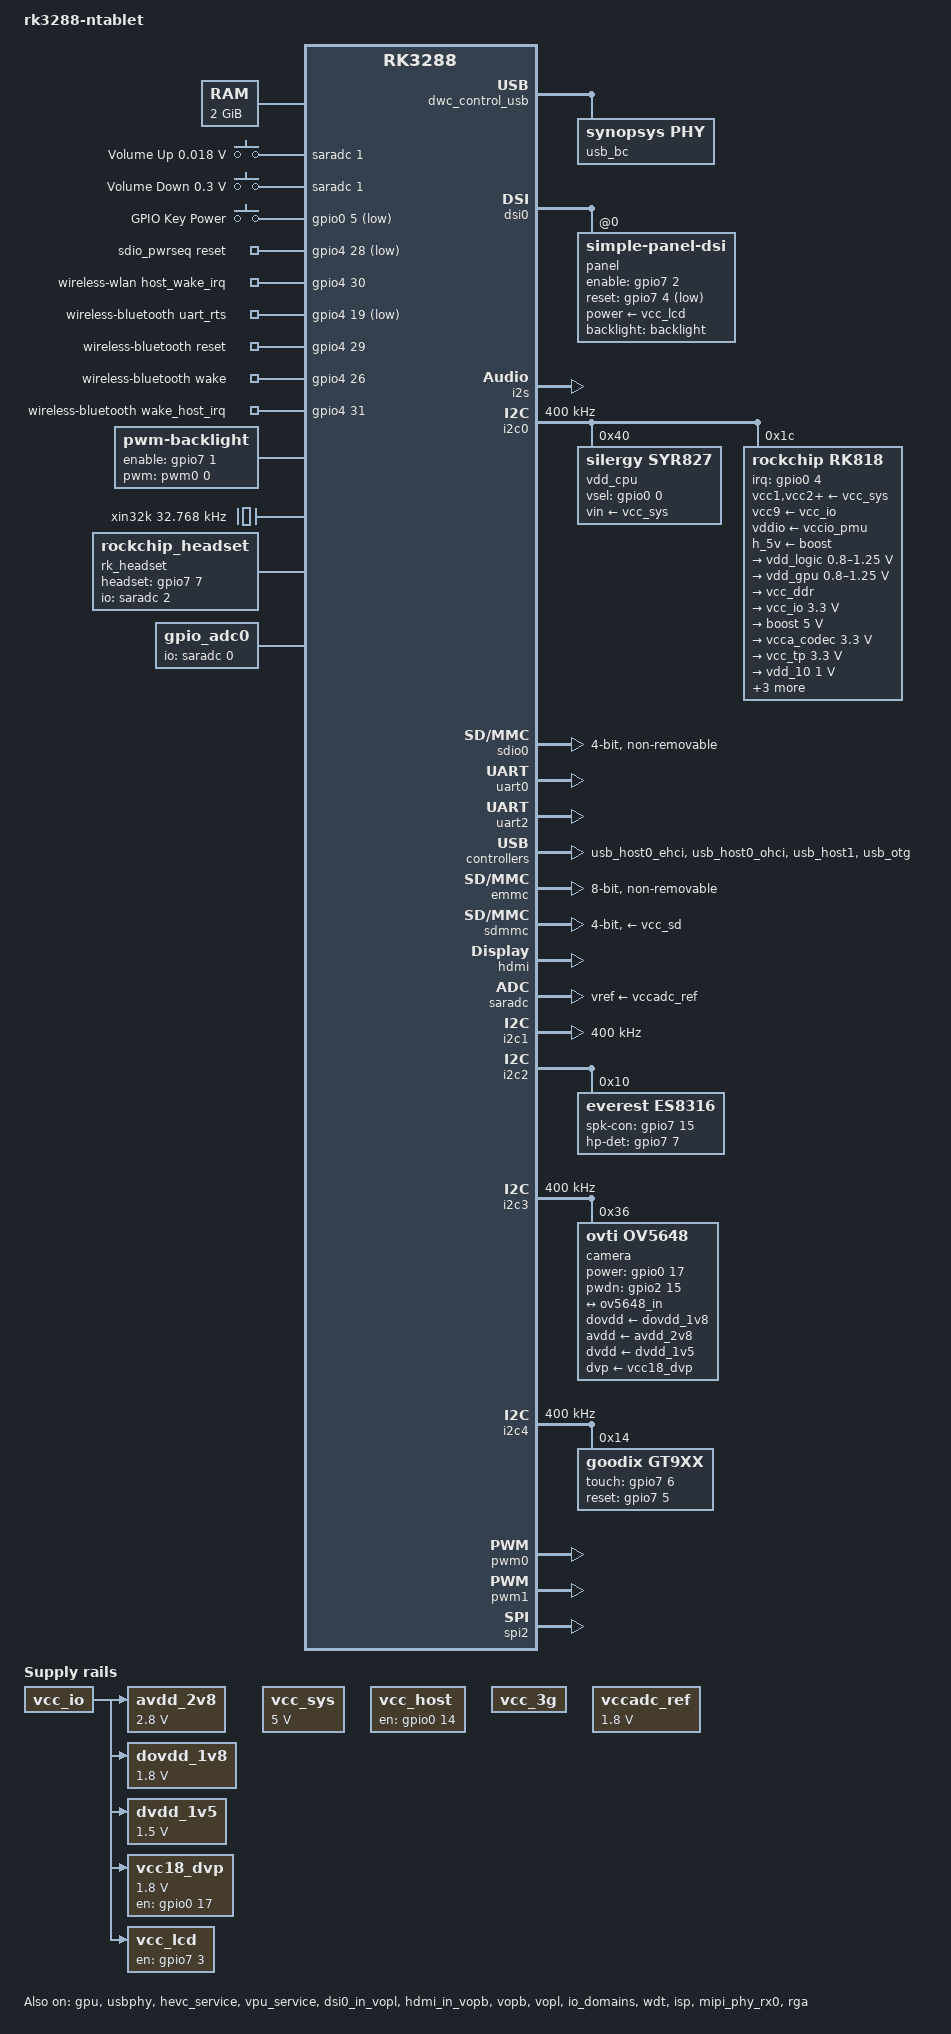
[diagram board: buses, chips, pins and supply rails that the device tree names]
/*
 * Copyright (c) 2018 Yea create <simon@yeacreate.com>
 *
 * This file is dual-licensed: you can use it either under the terms
 * of the GPL or the X11 license, at your option. Note that this dual
 * licensing only applies to this file, and not this project as a
 * whole.
 *
 *  a) This file is free software; you can redistribute it and/or
 *     modify it under the terms of the GNU General Public License as
 *     published by the Free Software Foundation; either version 2 of the
 *     License, or (at your option) any later version.
 *
 *     This file is distributed in the hope that it will be useful,
 *     but WITHOUT ANY WARRANTY; without even the implied warranty of
 *     MERCHANTABILITY or FITNESS FOR A PARTICULAR PURPOSE.  See the
 *     GNU General Public License for more details.
 *
 * Or, alternatively,
 *
 *  b) Permission is hereby granted, free of charge, to any person
 *     obtaining a copy of this software and associated documentation
 *     files (the "Software"), to deal in the Software without
 *     restriction, including without limitation the rights to use,
 *     copy, modify, merge, publish, distribute, sublicense, and/or
 *     sell copies of the Software, and to permit persons to whom the
 *     Software is furnished to do so, subject to the following
 *     conditions:
 *
 *     The above copyright notice and this permission notice shall be
 *     included in all copies or substantial portions of the Software.
 *
 *     THE SOFTWARE IS PROVIDED "AS IS", WITHOUT WARRANTY OF ANY KIND,
 *     EXPRESS OR IMPLIED, INCLUDING BUT NOT LIMITED TO THE WARRANTIES
 *     OF MERCHANTABILITY, FITNESS FOR A PARTICULAR PURPOSE AND
 *     NONINFRINGEMENT. IN NO EVENT SHALL THE AUTHORS OR COPYRIGHT
 *     HOLDERS BE LIABLE FOR ANY CLAIM, DAMAGES OR OTHER LIABILITY,
 *     WHETHER IN AN ACTION OF CONTRACT, TORT OR OTHERWISE, ARISING
 *     FROM, OUT OF OR IN CONNECTION WITH THE SOFTWARE OR THE USE OR
 *     OTHER DEALINGS IN THE SOFTWARE.
 */

/dts-v1/;
#include <dt-bindings/clock/rockchip,rk808.h>
#include <dt-bindings/pwm/pwm.h>
#include <dt-bindings/input/input.h>
#include <dt-bindings/display/media-bus-format.h>
#include <dt-bindings/soc/rockchip-system-status.h>
#include "rk3288.dtsi"
#include "rk3288-linux.dtsi"
#include "rk3288-rkisp1.dtsi"

/ {
	model = "rk3288-ntablet";
	compatible = "yeacreate,ntablet-870a", "rockchip,rk3288";

	chosen {
		bootargs = "earlycon=uart8250,mmio32,0xff690000";
	};

	memory {
		device_type = "memory";
		reg = <0x0 0x0 0x0 0x80000000>;
	};

	reserved-memory {
		ramoops_mem:ramoops@00000000 {
			reg = <0x0 0x8000000 0x0 0xF0000>;
		};
		drm_logo:drm-logo@00000000 {
			compatible = "rockchip,drm-logo";
			reg = <0x0 0x0 0x0 0x0>;
		};
	};

	cpuinfo {
		compatible = "rockchip,cpuinfo";
		nvmem-cells = <&efuse_id>;
		nvmem-cell-names = "id";
	};

	fiq-debugger{
		rockchip,irq-mode-enable = <1>;  /* If enable uart uses irq instead of fiq */
	};

	display-subsystem {
		status = "okay";
        ports = <&vopb_out>, <&vopl_out>;
        logo-memory-region = <&drm_logo>;
        route {
			route_hdmi:route-hdmi {
				status = "disabled";
                logo,uboot = "logo.bmp";
                logo,kernel = "logo_kernel.bmp";
                logo,mode = "center";
                charge_logo,mode = "center";
                connect = <&vopb_out_hdmi>;
            };
			route_edp:route-edp {
					status = "disabled";
					logo,uboot = "logo.bmp";
                    logo,kernel = "logo_kernel.bmp";
					logo,mode = "center";
					charge_logo,mode = "center";
					connect = <&vopl_out_edp>;
				};
			route_dsi0:route-dsi0 {
					status = "okay";
					logo,uboot = "logo.bmp";
					logo,kernel = "logo_kernel.bmp";
					logo,mode = "center";
					charge_logo,mode = "center";
					connect = <&vopl_out_dsi0>;
			};
			route_lvds:route-lvds {
					status = "disabled";
					logo,uboot = "logo.bmp";
					logo,kernel = "logo_kernel.bmp";
					logo,mode = "center";
					charge_logo,mode = "center";
					connect = <&vopl_out_lvds>;
			};
		};
	};

	adc-keys {
		compatible = "adc-keys";
		io-channels = <&saradc 1>;
		io-channel-names = "buttons";
		poll-interval = <100>;
		keyup-threshold-microvolt = <1800000>;

		button-up {
			label = "Volume Up";
			linux,code = <115>;
			press-threshold-microvolt = <18000>;
		};

		button-down {
			label = "Volume Down";
			linux,code = <114>;
			press-threshold-microvolt = <300000>;
		};

	};

	gpio-keys {
		compatible = "gpio-keys";
		#address-cells = <1>;
		#size-cells = <0>;
		autorepeat;
		pinctrl-names = "default";
		pinctrl-0 = <&pwrbtn>;

		button@0 {
			gpios = <&gpio0 5 GPIO_ACTIVE_LOW>;
			linux,code = <205>;//116 poweroff 205 KEY_SUSPEND
			label = "GPIO Key Power";
			linux,input-type = <1>;
			gpio-key,wakeup = <1>;
			debounce-interval = <100>;
		};
	};

	dwc_control_usb:dwc-control-usb@ff770284 {
		compatible = "rockchip,rk3288-dwc-control-usb";
		status = "okay";
		reg = <0x0 0xff770284 0x0 0x04>, <0x0 0xff770288 0x0 0x04>,
		<0x0 0xff7702cc 0x0 0x04>, <0x0 0xff7702d4 0x0 0x04>,
		<0x0 0xff770320 0x0 0x14>, <0x0 0xff770334 0x0 0x14>,
		<0x0 0xff770348 0x0 0x10>, <0x0 0xff770358 0x0 0x08>,
		<0x0 0xff770360 0x0 0x08>;
		reg-names = "GRF_SOC_STATUS1","GRF_SOC_STATUS2",
		"GRF_SOC_STATUS19", "GRF_SOC_STATUS21",
		"GRF_UOC0_BASE", "GRF_UOC1_BASE",
		"GRF_UOC2_BASE", "GRF_UOC3_BASE",
		"GRF_UOC4_BASE";
		interrupts = <GIC_SPI 93 IRQ_TYPE_LEVEL_HIGH>,
		<GIC_SPI 94 IRQ_TYPE_LEVEL_HIGH>,
		<GIC_SPI 95 IRQ_TYPE_LEVEL_HIGH>,
		<GIC_SPI 96 IRQ_TYPE_LEVEL_HIGH>,
		<GIC_SPI 97 IRQ_TYPE_LEVEL_HIGH>;
		interrupt-names = "otg_id", "otg_bvalid",
		"otg_linestate", "host0_linestate",
		"host1_linestate";
		clocks = <&cru HCLK_USB_PERI>;
		clock-names = "hclk_usb_peri";

		otg_drv_gpio = <&gpio0 12 GPIO_ACTIVE_HIGH>;
		host_drv_gpio = <&gpio7 8 GPIO_ACTIVE_HIGH>;
		rockchip,remote_wakeup;
		rockchip,usb_irq_wakeup;

		usb_bc {
			compatible = "synopsys,phy";
			rk_usb,bvalid     = <0x288 14 1>;
			rk_usb,iddig      = <0x288 17 1>;
			rk_usb,dcdenb     = <0x328 14 1>;
			rk_usb,vdatsrcenb = <0x328  7 1>;
			rk_usb,vdatdetenb = <0x328  6 1>;
			rk_usb,chrgsel    = <0x328  5 1>;
			rk_usb,chgdet     = <0x2cc 23 1>;
			rk_usb,fsvminus   = <0x2cc 25 1>;
			rk_usb,fsvplus    = <0x2cc 24 1>;
		};
	};

	sdio_pwrseq:sdio-pwrseq {
		compatible = "mmc-pwrseq-simple";
		clocks = <&rk818 1>;
		clock-names = "ext_clock";
		/*
		 * On the module itself this is one of these (depending
		 * on the actual card populated):
		 * - SDIO_RESET_L_WL_REG_ON
		 * - PDN (power down when low)
		 */
		reset-gpios = <&gpio4 28 GPIO_ACTIVE_LOW>;
	};

	wireless-wlan {
		compatible = "wlan-platdata";
		rockchip,grf = <&grf>;
		wifi_chip_type = "ap6255";
		sdio_vref = <1800>;
		WIFI,host_wake_irq = <&gpio4 30 GPIO_ACTIVE_HIGH>;
		status = "okay";
	};

	wireless-bluetooth {
		compatible = "bluetooth-platdata";
		clocks = <&rk818 1>;
		clock-names = "ext_clock";
		uart_rts_gpios = <&gpio4 19 GPIO_ACTIVE_LOW>;
		pinctrl-names = "default", "rts_gpio";
		pinctrl-0 = <&uart0_rts>;
		pinctrl-1 = <&uart0_gpios>;
		BT,reset_gpio    = <&gpio4 29 GPIO_ACTIVE_HIGH>;
		BT,wake_gpio     = <&gpio4 26 GPIO_ACTIVE_HIGH>;
		BT,wake_host_irq = <&gpio4 31 GPIO_ACTIVE_HIGH>;
		status = "okay";
	};

	sound:sound {
		status = "disabled";
		compatible = "simple-audio-card";
		simple-audio-card,format = "i2s";
		simple-audio-card,name = "rockchip,es8316-codec";
		//simple-audio-card,name = "rockchip,rk3288-evb-codec";
		simple-audio-card,mclk-fs = <256>;  //was 512
		simple-audio-card,widgets ="Microphone", "Microphone Jack",
		"Headphone", "Headphone Jack";
		simple-audio-card,routing ="MIC1", "Microphone Jack",
		"MIC2", "Microphone Jack",
		"Microphone Jack", "micbias1",
		"Headphone Jack", "HPOL",
		"Headphone Jack", "HPOR";

		simple-audio-card,dai-link@0 {
			format = "i2s";
			cpu {
				sound-dai = <&i2s>;
			};

			codec {
				sound-dai = <&es8316>;
			};
		};

		simple-audio-card,dai-link@1 {
			format = "i2s";
			cpu {
				sound-dai = <&i2s>;
			};
			codec {
				sound-dai = <&hdmi>;
			};
		};
	};

	spdif-sound {
		status = "disabled";
	};

	hdmi_analog_sound:hdmi-analog-sound {
		status = "okay";
		compatible = "rockchip,rk3288-hdmi-analog",
		"rockchip,rk3368-hdmi-analog";
		//rockchip,model = "rockchip,es8316-codec";
		rockchip,cpu = <&i2s>;
		rockchip,codec = <&es8316>, <&hdmi>;
		rockchip,widgets =
		"Microphone", "Microphone Jack",
		"Headphone", "Headphone Jack";
		rockchip,routing =
		"MIC1", "Microphone Jack",
		"MIC2", "Microphone Jack",
		"Microphone Jack", "micbias1",
		"Headphone Jack", "HPOL",
		"Headphone Jack", "HPOR";
	};

	backlight:backlight {
		compatible = "pwm-backlight";
		brightness-levels = <
		0   1   2   3   4   5   6   7
		8   9  10  11  12  13  14  15
		16  17  18  19  20  21  22  23
		24  25  26  27  28  29  30  31
		32  33  34  35  36  37  38  39
		40  41  42  43  44  45  46  47
		48  49  50  51  52  53  54  55
		56  57  58  59  60  61  62  63
		64  65  66  67  68  69  70  71
		72  73  74  75  76  77  78  79
		80  81  82  83  84  85  86  87
		88  89  90  91  92  93  94  95
		96  97  98  99 100 101 102 103
		104 105 106 107 108 109 110 111
		112 113 114 115 116 117 118 119
		120 121 122 123 124 125 126 127
		128 129 130 131 132 133 134 135
		136 137 138 139 140 141 142 143
		144 145 146 147 148 149 150 151
		152 153 154 155 156 157 158 159
		160 161 162 163 164 165 166 167
		168 169 170 171 172 173 174 175
		176 177 178 179 180 181 182 183
		184 185 186 187 188 189 190 191
		192 193 194 195 196 197 198 199
		200 201 202 203 204 205 206 207
		208 209 210 211 212 213 214 215
		216 217 218 219 220 221 222 223
		224 225 226 227 228 229 230 231
		232 233 234 235 236 237 238 239
		240 241 242 243 244 245 246 247
		248 249 250 251 252 253 254 255>;
		default-brightness-level = <128>;
		enable-gpios = <&gpio7 1 GPIO_ACTIVE_HIGH>;
		pinctrl-names = "default";
		pinctrl-0 = <&bl_en>;
		pwms = <&pwm0 0 50000 0>;
	};

	xin32k:xin32k {
		compatible = "fixed-clock";
		clock-frequency = <32768>;
		clock-output-names = "xin32k";
		#clock-cells = <0>;
	};

	vcc_sys:vsys-regulator {
		compatible = "regulator-fixed";
		regulator-name = "vcc_sys";
		regulator-min-microvolt = <5000000>;
		regulator-max-microvolt = <5000000>;
		regulator-always-on;
		regulator-boot-on;
	};

	/*
		 * 3 PT5108E23 creates 3 avdd_2v8, DOVDD_1v8 and DVDD_1v5, controlled
		 * by the dvp_pwr pin.
	*/

	avdd_2v8:dovdd-1v8-regulator {
		compatible = "regulator-fixed";
		regulator-name = "avdd_2v8";
		regulator-min-microvolt = <2800000>;
		regulator-max-microvolt = <2800000>;
		vin-supply = <&vcc_io>;
	};

	dovdd_1v8:dovdd-1v8-regulator {
		compatible = "regulator-fixed";
		regulator-name = "dovdd_1v8";
		regulator-min-microvolt = <1800000>;
		regulator-max-microvolt = <1800000>;
		vin-supply = <&vcc_io>;
	};

	dvdd_1v5:dvdd-1v5-regulator {
		compatible = "regulator-fixed";
		regulator-name = "dvdd_1v5";
		regulator-min-microvolt = <1500000>;
		regulator-max-microvolt = <1500000>;
		vin-supply = <&vcc_io>;
	};

	vcc18_dvp:vcc18-dvp-regulator {
		compatible = "regulator-fixed";
		enable-active-high;
		gpio = <&gpio0 17 GPIO_ACTIVE_HIGH>;
		//pinctrl-names = "default";
		//pinctrl-0 = <&dvp_pwr>;
		regulator-name = "vcc18_dvp";
		regulator-min-microvolt = <1800000>;
		regulator-max-microvolt = <1800000>;
		//regulator-always-on;
		regulator-boot-on;
		vin-supply = <&vcc_io>;
	};

	vcc_lcd:vcc-lcd {
		compatible = "regulator-fixed";
		enable-active-high;
		regulator-boot-on;
		gpio = <&gpio7 3 GPIO_ACTIVE_HIGH>;
		pinctrl-names = "default";
		pinctrl-0 = <&lcd_en>;
		regulator-name = "vcc_lcd";
		vin-supply = <&vcc_io>;
	};

	/* This turns on USB vbus for both host0 (ehci) and host1 (dwc2) */
	vcc_host:vcc-host-regulator {
		compatible = "regulator-fixed";
		enable-active-high;
		gpio = <&gpio0 14 GPIO_ACTIVE_HIGH>;
		pinctrl-names = "default";
		pinctrl-0 = <&host_vbus_drv>;
		regulator-name = "vcc_host";
		regulator-always-on;
		regulator-boot-on;
	};

	vcc_3g:vcc-3g-regulator {
		compatible = "regulator-fixed";
		enable-active-high;
		//gpio = <&gpio7 8 GPIO_ACTIVE_HIGH>;
		pinctrl-names = "default";
		pinctrl-0 = <&pwr_3g>;
		regulator-name = "vcc_3g";
	};

	vccadc_ref:vccadc-ref {
		compatible = "regulator-fixed";
		regulator-name = "vcc1v8_sys";
		regulator-always-on;
		regulator-boot-on;
		regulator-min-microvolt = <1800000>;
		regulator-max-microvolt = <1800000>;
	};

	rk_headset {
		compatible = "rockchip_headset";
		headset_gpio = <&gpio7 7 GPIO_ACTIVE_HIGH>;
		io-channels = <&saradc 2>;
	};

	adc0{
        compatible = "gpio_adc0";
        io-channels=<&saradc 0>;
    };

	uboot-charge {
		compatible = "rockchip,uboot-charge";
		rockchip,uboot-charge-on = <0>;
		rockchip,android-charge-on = <1>;
		};
};

&cpu0 {
	cpu0-supply = <&vdd_cpu>;
	operating-points = <
	/* KHz    uV */
	1800000	1400000
	1608000	1350000
	1512000 1300000
	1416000 1200000
	1200000 1100000
	1008000 1050000
	816000 1000000
	696000  950000
	600000  900000
	408000  900000
	312000  900000
	216000  900000
	126000  900000
	>;
};

&gpu {
	status = "okay";
	mali-supply = <&vdd_gpu>;
};

&dfi {
	status = "disabled";
};

&dmc {
	center-supply = <&vdd_logic>;
	status = "disabled";
};

&dsi0 {
	status = "okay";
	rockchip,lane-rate = <1000>;

	panel:panel {
		compatible = "simple-panel-dsi";
		reg = <0>;
		backlight = <&backlight>;
		enable-gpios = <&gpio7 2 GPIO_ACTIVE_HIGH>;
		reset-gpios = <&gpio7 4 GPIO_ACTIVE_LOW>;
		power-supply = <&vcc_lcd>;
		dsi,flags = <(MIPI_DSI_MODE_VIDEO | MIPI_DSI_MODE_VIDEO_BURST | MIPI_DSI_MODE_LPM | MIPI_DSI_MODE_EOT_PACKET)>;
		dsi,format = <MIPI_DSI_FMT_RGB888>;
		dsi,lanes = <4>;
		reset-delay-ms = <120>;
		init-delay-ms = <120>;
		enable-delay-ms = <120>;
		prepare-delay-ms = <120>;
		status = "okay";

		panel-init-sequence = [
			15 00 02 b0 00
			39 00 06 b3 14 08 00 22 00
			39 00 02 b4 0c
			39 00 03 b6 3a d3
			15 00 02 51 e6
			15 00 02 53 2c
			05 78 01 29
			05 ff 01 11
		];


			disp_timings:display-timings {
				native-mode = <&timing0>;

				timing0:timing0 {
						clock-frequency = <150000000>;
						hactive = <1200>;
						vactive = <1920>;
						hback-porch = <60>;
						hfront-porch = <80>;
						vback-porch = <5>;
						vfront-porch = <20>;
						hsync-len = <1>;
						vsync-len = <2>;
						hsync-active = <0>;
						vsync-active = <0>;
						de-active = <0>;
						pixelclk-active = <0>;
				};
			};
	};
};

&i2s {
	#sound-dai-cells = <0>;
	status = "okay";
};

&i2c0 {
	status = "okay";
	i2c-scl-rising-time-ns = <180>;
	i2c-scl-falling-time-ns = <30>;
	clock-frequency = <400000>;

	vdd_cpu:syr837@40 {
		compatible = "silergy,syr827";
		reg = <0x40>;
		vin-supply = <&vcc_sys>;
		regulator-compatible = "fan53555-reg";
		pinctrl-0 = <&vsel1_gpio>;
		vsel-gpios = <&gpio0 0 GPIO_ACTIVE_HIGH>;
		regulator-name = "vdd_cpu";
		regulator-min-microvolt = <712500>;
		regulator-max-microvolt = <1500000>;
		regulator-ramp-delay = <1000>;
		fcs,suspend-voltage-selector = <1>;
		regulator-always-on;
		regulator-boot-on;
		regulator-initial-state = <3>;
		regulator-state-mem {
			regulator-off-in-suspend;
		};
	};

	rk818:pmic@1c {
		compatible = "rockchip,rk818";
		reg = <0x1c>;
		status = "okay";
		clock-output-names = "rk818-clkout1", "wifibt_32kin";
		interrupt-parent = <&gpio0>;
		interrupts = <4 IRQ_TYPE_LEVEL_LOW>;
		pinctrl-names = "default";
		pinctrl-0 = <&pmic_int>;
		rockchip,system-power-controller;
		wakeup-source;
		#clock-cells = <1>;

		vcc1-supply = <&vcc_sys>;
		vcc2-supply = <&vcc_sys>;
		vcc3-supply = <&vcc_sys>;
		vcc4-supply = <&vcc_sys>;
		vcc6-supply = <&vcc_sys>;
		vcc7-supply = <&vcc_sys>;
		vcc8-supply = <&vcc_sys>;
		vcc9-supply = <&vcc_io>;
		vddio-supply = <&vccio_pmu>;
		boost-supply = <&vcc_sys>;
		h_5v-supply = <&boost>;

		regulators {
			vdd_logic:DCDC_REG1 {
				regulator-name = "vdd_logic";
				regulator-always-on;
				regulator-boot-on;
				regulator-min-microvolt = <800000>;
				regulator-max-microvolt = <1250000>;
				regulator-ramp-delay = <6001>;
				regulator-state-mem {
					regulator-on-in-suspend;
					regulator-suspend-microvolt = <1000000>;
				};
			};

			vdd_gpu:DCDC_REG2 {
				regulator-name = "vdd_gpu";
				regulator-always-on;
				regulator-boot-on;
				regulator-min-microvolt = <800000>;
				regulator-max-microvolt = <1250000>;
				regulator-ramp-delay = <6000>;
				regulator-state-mem {
					regulator-on-in-suspend;
					regulator-suspend-microvolt = <1000000>;
				};
			};

			vcc_ddr:DCDC_REG3 {
				regulator-always-on;
				regulator-boot-on;
				regulator-name = "vcc_ddr";
				regulator-state-mem {
					regulator-on-in-suspend;
				};
			};

			vcc_io:DCDC_REG4 {
				regulator-always-on;
				regulator-boot-on;
				regulator-min-microvolt = <3300000>;
				regulator-max-microvolt = <3300000>;
				regulator-name = "vcc_io";
				regulator-state-mem {
					regulator-on-in-suspend;
				};
			};

			boost:DCDC_BOOST {
				regulator-always-on;
				regulator-boot-on;
				regulator-min-microvolt = <5000000>;
				regulator-max-microvolt = <5000000>;
				regulator-name = "boost";
				regulator-state-mem {
					regulator-on-in-suspend;
				};
			};

			vcca_codec:LDO_REG1 {
				regulator-always-on;
				regulator-boot-on;
				regulator-min-microvolt = <3300000>;
				regulator-max-microvolt = <3300000>;
				regulator-name = "vcca_codec";
				regulator-state-mem {
					regulator-off-in-suspend;
				};
			};

			vcc_tp:LDO_REG2 {
				regulator-always-on;
				regulator-boot-on;
				regulator-min-microvolt = <3300000>;
				regulator-max-microvolt = <3300000>;
				regulator-name = "vcc_tp";
				regulator-state-mem {
					regulator-off-in-suspend;
				};
			};

			vdd_10:LDO_REG3 {
				regulator-always-on;
				regulator-boot-on;
				regulator-min-microvolt = <1000000>;
				regulator-max-microvolt = <1000000>;
				regulator-name = "vdd_10";
				regulator-state-mem {
					regulator-on-in-suspend;
					regulator-suspend-microvolt = <1000000>;
				};
			};

			vcc18_lcd:LDO_REG4 {
				regulator-always-on;
				regulator-boot-on;
				regulator-min-microvolt = <1800000>;
				regulator-max-microvolt = <1800000>;
				regulator-name = "vcc18_lcd";
				regulator-state-mem {
					regulator-off-in-suspend;
				};
			};

			vccio_pmu:LDO_REG5 {
				regulator-always-on;
				regulator-boot-on;
				regulator-min-microvolt = <3300000>;
				regulator-max-microvolt = <3300000>;
				regulator-name = "vccio_pmu";
				regulator-state-mem {
					regulator-on-in-suspend;
					regulator-suspend-microvolt = <3300000>;
				};
			};

			vdd10_lcd:LDO_REG6 {
				regulator-always-on;
				regulator-boot-on;
				regulator-min-microvolt = <1000000>;
				regulator-max-microvolt = <1000000>;
				regulator-name = "vdd10_lcd";
				regulator-state-mem {
					regulator-off-in-suspend;
				};
			};

			vcc_18:LDO_REG7 {
				regulator-always-on;
				regulator-boot-on;
				regulator-min-microvolt = <1800000>;
				regulator-max-microvolt = <1800000>;
				regulator-name = "vcc_18";
				regulator-state-mem {
					regulator-on-in-suspend;
					regulator-suspend-microvolt = <1800000>;
				};
			};

			vccio_wl:LDO_REG8 {
				regulator-always-on;
				regulator-boot-on;
				regulator-min-microvolt = <1800000>;
				regulator-max-microvolt = <3300000>;
				regulator-name = "vccio_wl";
				regulator-state-mem {
					regulator-on-in-suspend;
					regulator-suspend-microvolt = <3300000>;
				};
			};

			vccio_sd:LDO_REG9 {
				regulator-always-on;
				regulator-boot-on;
				regulator-min-microvolt = <1800000>;
				regulator-max-microvolt = <3300000>;
				regulator-name = "vccio_sd";
				regulator-state-mem {
					regulator-on-in-suspend;
					regulator-suspend-microvolt = <3300000>;
				};
			};

			vcc_sd:SWITCH_REG {
				regulator-always-on;
				regulator-boot-on;
				regulator-name = "vcc_sd";
				regulator-state-mem {
					regulator-on-in-suspend;
				};
			};

			h_5v:HDMI_SWITCH {
				regulator-always-on;
				regulator-boot-on;
				regulator-name = "h_5v";
				regulator-state-mem {
					regulator-on-in-suspend;
				};
			};

			otg_switch:OTG_SWITCH {
				regulator-name = "otg_switch";
			};
		};

		battery {
			compatible = "rk818-battery";
			//pinctrl-names = "default";
			//pinctrl-0 = <&dc_irq_gpio>;
			ocv_table = <
				3400 3660 3683 3708 3733 3750 3770
				3785 3800 3819 3841 3870 3918 3963
				4005 4055 4102 4155 4209 4264 4321>;
			design_capacity = <4730>;
			design_qmax = <5203>;
			bat_res = <100>;
			max_input_current = <2000>;
			max_chrg_current = <1200>;
			max_chrg_voltage = <4350>;
			sleep_enter_current = <300>;
			sleep_exit_current = <300>;
			sleep_filter_current = <100>;
			power_off_thresd = <3400>;
			zero_algorithm_vol = <3950>;
			fb_temperature = <105>;
			sample_res = <10>;
			max_soc_offset = <60>;
			energy_mode = <0>;
			monitor_sec = <5>;
			virtual_power = <0>;
			power_dc2otg = <1>;
			support_usb_adp = <1>;
			support_dc_adp = <1>;
			dc_det_gpio = <&gpio0 8 GPIO_ACTIVE_LOW>;
		};

	};
};

&sdio0 {
	status = "okay";
	max-frequency = <150000000>;
	bus-width = <4>;
	cap-sd-highspeed;
	cap-sdio-irq;
	disable-wp;
	keep-power-in-suspend;
	mmc-pwrseq = <&sdio_pwrseq>;
	non-removable;
	num-slots = <1>;
	pinctrl-names = "default";
	pinctrl-0 = <&sdio0_bus4 &sdio0_cmd &sdio0_clk &sdio0_int>;
	sd-uhs-sdr104;
	supports-sdio;
};

&uart0 {
	pinctrl-names = "default";
	pinctrl-0 = <&uart0_xfer &uart0_cts>;
	status = "okay";
};

&uart2 {
	status = "okay";
};

&usbphy {
	status = "okay";
};

&usb_host0_ehci {
	rockchip-relinquish-port;
	status = "okay";
};

&usb_host0_ohci {
	status = "okay";
};

&usb_host1 {
	status = "okay";
};

&usb_otg {
	status = "okay";
	compatible = "rockchip,rk3288_usb20_otg";
	clocks = <&usbphy0>, <&cru HCLK_OTG0>;
	clock-names = "clk_usbphy0", "hclk_usb0";
	resets = <&cru SRST_USBOTG_AHB>,
	<&cru SRST_USBOTG_PHY>,
	<&cru SRST_USBOTG_CON>;
	reset-names = "otg_ahb", "otg_phy", "otg_controller";
	/*0 - Normal, 1 - Force Host, 2 - Force Device*/
	rockchip,usb-mode = <0>;
};

&hevc_service {
	status = "okay";
};

&vpu_service {
	status = "okay";
};

//&tsadc {
	//rockchip,hw-tshut-polarity = <1>; /* tshut polarity 0:LOW 1:HIGH */
	//status = "okay";
//};

&rockchip_suspend {
	status = "okay";
};

&emmc {
	bus-width = <8>;
	cap-mmc-highspeed;
	disable-wp;
	non-removable;
	num-slots = <1>;
	pinctrl-names = "default";
	pinctrl-0 = <&emmc_clk &emmc_cmd &emmc_pwr &emmc_bus8>;
	max-frequency = <100000000>;
	mmc-hs200-1_8v;
	mmc-ddr-1_8v;
	status = "okay";
};

&sdmmc {
	supports-sd;
	bus-width = <4>;
	cap-mmc-highspeed;
	sd-uhs-sdr12;
	sd-uhs-sdr25;
	sd-uhs-sdr50;
	sd-uhs-sdr104;
	cap-sd-highspeed;
	card-detect-delay = <200>;
	disable-wp;			/* wp not hooked up */
	num-slots = <1>;
	pinctrl-names = "default";
	pinctrl-0 = <&sdmmc_clk &sdmmc_cmd &sdmmc_cd &sdmmc_bus4>;
	status = "okay";
	vmmc-supply = <&vcc_sd>;
	vqmmc-supply = <&vccio_sd>;
	supports-sd;
};

&dsi0_in_vopl {
	status = "okay";
};

&dsi0_in_vopb {
	status = "disabled";
};

&route_dsi0 {
	connect = <&vopl_out_dsi0>;
	status = "okay";
};

&hdmi_in_vopl {
	status = "disabled";
};

&hdmi_in_vopb {
	status = "okay";
};

&hdmi {
	#address-cells = <1>;
	#size-cells = <0>;
	#sound-dai-cells = <0>;
	status = "okay";
	pinctrl-0 = <&hdmi_ddc>, <&hdmi_cec>;
};

&route_hdmi {
	connect = <&vopb_out_hdmi>;
	status = "okay";
};

&vopb {
	status = "okay";
};

&vopb_mmu {
	status = "okay";
};

&vopl {
	status = "okay";
};

&vopl_mmu {
	status = "okay";
};

&saradc {
	vref-supply = <&vccadc_ref>;
	status = "okay";
};


&i2c1 {
	status = "okay";
	clock-frequency = <400000>;
};

&i2c2 {
	status = "okay";
	es8316:es8316@10 {
		status = "okay";
		compatible = "everest,es8316";
		reg = <0x10>;
		spk-con-gpio = <&gpio7 15 GPIO_ACTIVE_HIGH>;
		hp-det-gpio = <&gpio7 7 GPIO_ACTIVE_HIGH>;
		clock-names = "mclk";
		clocks = <&cru SCLK_I2S0_OUT>;
		pinctrl-names = "default";
		pinctrl-0 = <&i2s0_mclk>;
		#sound-dai-cells = <0>;
	};
};

&i2c3 {
	status = "okay";
	clock-frequency = <400000>;
	camera:ov5648@36 {
		status = "okay";
		compatible = "ovti,ov5648";
		reg = <0x36>; //6c , 36 ,6a,1B,4a,6f
		clocks = <&cru SCLK_VIP_OUT>;
		clock-names="xvclk";
		dovdd-supply = <&dovdd_1v8>;
		avdd-supply = <&avdd_2v8>;
		dvdd-supply = <&dvdd_1v5>;
		dvp-supply = <&vcc18_dvp>;
		rockchip,camera-module-index = <0>;
		rockchip,camera-module-facing = "back";
		rockchip,camera-module-name = "CameraKing";
		rockchip,camera-module-lens-name = "CHT-842B-MD";
		power-gpios = <&gpio0 17 GPIO_ACTIVE_HIGH>;
		pwdn-gpios = <&gpio2 15 GPIO_ACTIVE_HIGH>;
		port {
			ov5648_out:endpoint {
				remote-endpoint = <&ov5648_in>;
				data-lanes = <1 2>;
			};
		};
	};
};

&i2c4 {
	status = "okay";
	clock-frequency = <400000>;

	gt9xx:gt9xx@14 {
		compatible = "goodix,gt9xx";
		reg = <0x14>;
		touch-gpio = <&gpio7 6 IRQ_TYPE_LEVEL_LOW>;
		reset-gpio = <&gpio7 5 GPIO_ACTIVE_HIGH>;
		max-x = <1200>;
		max-y = <1900>;
		tp-size = <911>;
		status = "okay";
	};
};

&io_domains {
	status = "okay";
	//dovdd-supply = <&dovdd_1v8>;
	//avdd-supply = <&avdd_2v8>;
	//dvdd-supply = <&dvdd_1v5>;
	dvp-supply = <&vcc18_dvp>;
	sdcard-supply = <&vccio_sd>;
	wifi-supply = <&vccio_wl>;
};

&wdt {
	status = "okay";
};

&isp {
	status = "okay";
	port {
		isp_mipi_in:endpoint {
			remote-endpoint = <&dphy_rx0_out>;
			//bus-width = <8>;
		};
	};
};

&isp_mmu {
	status = "okay";
};

&mipi_phy_rx0 {
	status = "okay";
	//power-domains = <&power RK3288_PD_VIO>;

	ports {
		#address-cells = <1>;
		#size-cells = <0>;
		port@0 {
			reg = <0>;
			ov5648_in:endpoint {
				remote-endpoint = <&ov5648_out>;
				data-lanes = <1 2>;
			};
		};

		port@1 {
			reg = <1>;
			dphy_rx0_out:endpoint {
				remote-endpoint = <&isp_mipi_in>;
			};
		};
	};
};

&rga {
	status = "okay";
	compatible = "rockchip,rga2";
	clocks = <&cru ACLK_RGA>, <&cru HCLK_RGA>, <&cru SCLK_RGA>;
	clock-names = "aclk_rga", "hclk_rga", "clk_rga";
	dma-coherent;
};

&pwm0 {
	status = "okay";
};

&pwm1 {
	status = "okay";
};

&spi2{
	status = "okay";
};

&cif_isp0 {
	status = "disabled";
};

&pinctrl {
	backlight {
		bl_en:bl-en {
			rockchip,pins = <7 2 RK_FUNC_GPIO &pcfg_pull_none>;
		};
	};

	buttons {
		pwrbtn:pwrbtn {
			rockchip,pins = <0 5 RK_FUNC_GPIO &pcfg_pull_up>;
		};
	};

	lcd {
		lcd_en:lcd-en  {
			rockchip,pins = <7 3 RK_FUNC_GPIO &pcfg_pull_none>;
		};
	};

	//dvp {
	//dvp_pwr: dvp-pwr{
	//	rockchip,pins = <0 17 RK_FUNC_GPIO &pcfg_pull_down>;
	//};
	//};

	pmic {
		pmic_int:pmic-int {
			rockchip,pins = <RK_GPIO0 4 RK_FUNC_GPIO &pcfg_pull_up>;
		};
		vsel1_gpio:vsel1-gpio {
			rockchip,pins = <RK_GPIO0 0 RK_FUNC_GPIO &pcfg_pull_down>;
		};
	};

	pcfg_pull_none_drv_8ma:pcfg-pull-none-drv-8ma {
		drive-strength = <8>;
	};

	pcfg_pull_up_drv_8ma:pcfg-pull-up-drv-8ma {
		bias-pull-up;
		drive-strength = <8>;
	};

	wireless-bluetooth {
		uart0_gpios:uart0-gpios {
			rockchip,pins = <4 19 RK_FUNC_GPIO &pcfg_pull_none>;
		};
	};

	sdmmc {
		/*
		 * Default drive strength isn't enough to achieve even
		 * high-speed mode on EVB board so bump up to 8ma.
		 */
		sdmmc_bus4:sdmmc-bus4 {
			rockchip,pins = <6 16 RK_FUNC_1 &pcfg_pull_up_drv_8ma>,
			<6 17 RK_FUNC_1 &pcfg_pull_up_drv_8ma>,
			<6 18 RK_FUNC_1 &pcfg_pull_up_drv_8ma>,
			<6 19 RK_FUNC_1 &pcfg_pull_up_drv_8ma>;
		};

		sdmmc_clk:sdmmc-clk {
			rockchip,pins = <6 20 RK_FUNC_1 &pcfg_pull_none_drv_8ma>;
		};

		sdmmc_cmd:sdmmc-cmd {
			rockchip,pins = <6 21 RK_FUNC_1 &pcfg_pull_up_drv_8ma>;
		};

		sdmmc_pwr:sdmmc-pwr {
			rockchip,pins = <7 11 RK_FUNC_GPIO &pcfg_pull_none>;
		};
	};

	usb {
		host_vbus_drv:host-vbus-drv {
			rockchip,pins = <0 14 RK_FUNC_GPIO &pcfg_pull_none>;
		};

		pwr_3g:pwr-3g {
			rockchip,pins = <7 8 RK_FUNC_GPIO &pcfg_pull_none>;
		};
	};

	//camera {
	//            cam_pd: cam_pd {
	//                   rockchip,pins = <2 15 RK_FUNC_GPIO &pcfg_pull_none>;
	//           };
	//   };
};
